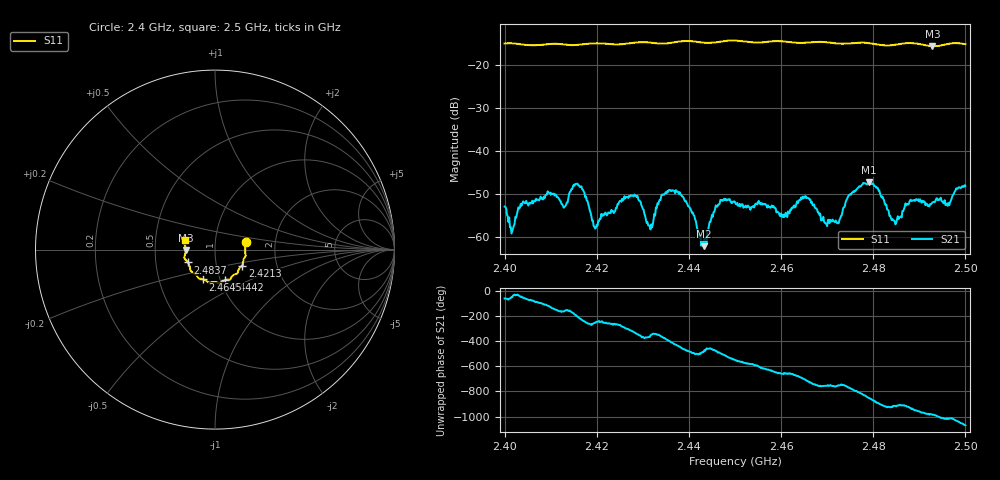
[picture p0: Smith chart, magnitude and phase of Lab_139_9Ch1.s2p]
# Hz S RI R 50
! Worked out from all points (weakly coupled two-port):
!   601 points, 2.4 GHz to 2.5 GHz, reference 50 ohm
!   highest |S21| = -47.33 dB at 2.479 GHz (marker M1); lowest = -62.2 dB at 2.4432 GHz (marker M2)
!   lowest |S11| = -15.7 dB at 2.4928 GHz (marker M3), VSWR 1.39, Z = 35.9 - j0.363 ohm
!   |S11| at or under -10 dB: start of sweep to end of sweep
!   S12 and S22 are empty: the file has one direction only
!   S11 on the Smith chart (normalised r, x): 2.4 GHz: 1.41, +0.12; 2.4213 GHz: 1.33, -0.25; 2.4442 GHz: 1.05, -0.37; 2.4645 GHz: 0.83, -0.29; 2.4837 GHz: 0.73, -0.11; 2.5 GHz: 0.71, +0.08
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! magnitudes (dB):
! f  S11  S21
! 2.4 GHz  -15.1  -53.0
! 2.4017 GHz  -15.1  -58.6
! 2.404 GHz  -15.4  -51.8
! 2.4167 GHz  -15.3  -48.2
! 2.4195 GHz  -15.1  -57.7
! 2.4213 GHz  -15.1  -54.8
! 2.4283 GHz  -14.9  -50.3
! 2.4317 GHz  -14.9  -58.3
! 2.4333 GHz  -15.1  -52.4
! 2.4377 GHz  -14.7  -49.6
! 2.4432 GHz  -14.9  -62.2
! 2.4442 GHz  -15.0  -58.5
! 2.45 GHz  -14.4  -51.9
! 2.4608 GHz  -14.6  -55.2
! 2.4645 GHz  -15.0  -51.2
! 2.4667 GHz  -14.8  -51.8
! 2.472 GHz  -15.1  -56.5
! 2.479 GHz  -15.0  -47.3
! 2.4833 GHz  -15.5  -53.9
! 2.4837 GHz  -15.5  -55.1
! 2.4928 GHz  -15.7  -52.0
! 2.5 GHz  -15.2  -48.2
